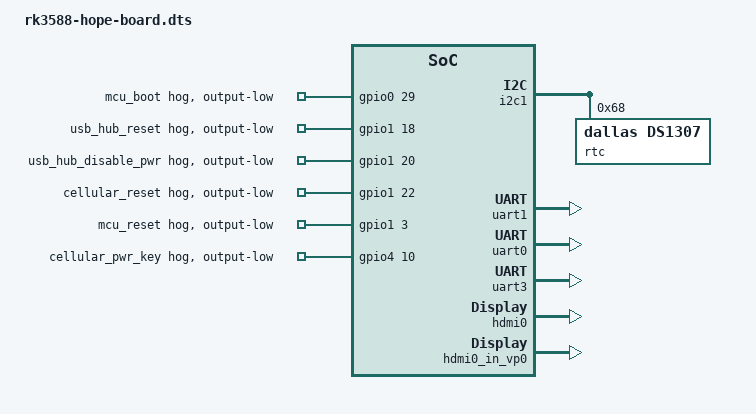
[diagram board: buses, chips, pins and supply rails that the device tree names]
/dts-v1/;
/plugin/;

/ {
    fragment@0 {
        target = <&gpio0>;
        __overlay__ {
            mcu_boot: mcu_boot {
                gpio-hog;

                // GPIO0_D5
                gpios = <29 0>;
                output-low;
                line-name = "mcu_boot";
            };
        };
    };

    fragment@1 {
        target = <&gpio1>;
        __overlay__ {
            usb_hub_reset: usb_hub_reset {
                gpio-hog;

                // GPIO1_C2
                gpios = <18 0>;
                output-low;
                line-name = "usb_hub_reset";
            };

            usb_hub_disable_pwr: usb_hub_disable_pwr {
                gpio-hog;

                // GPIO1_C4
                gpios = <20 0>;
                output-low;
                line-name = "usb_hub_disable_pwr";
            };

            cellular_reset: cellular_reset {
                gpio-hog;

                // GPIO1_C6
                gpios = <22 0>;
                output-low;
                line-name = "cellular_reset";
            };

            mcu_reset: mcu_reset {
                gpio-hog;

                // GPIO1_A3
                gpios = <3 0>;
                output-low;
                line-name = "mcu_reset";
            };
        };
    };

    fragment@2 {
        target = <&gpio4>;
        __overlay__ {
            cellular_pwr_key: cellular_pwr_key {
                gpio-hog;

                // GPIO4_B2
                gpios = <10 0>;
                output-low;
                line-name = "cellular_pwr_key";
            };
        };
    };

    // Main I2C bus for HOPE-X base board
    fragment@3 {
		target = <&i2c1>;

		__overlay__ {
			status = "okay";
			pinctrl-names = "default";
			pinctrl-0 = <&i2c1m4_xfer>;
		};
	};

    // DB9 RS-232 main communication UART
    fragment@4 {
		target = <&uart1>;

		__overlay__ {
			status = "okay";
			pinctrl-0 = <&uart1m1_xfer>;
		};
	};

    // DB9 RS-232 AUX communication UART
    fragment@5 {
		target = <&uart0>;

		__overlay__ {
			status = "okay";
			pinctrl-0 = <&uart0m2_xfer>;
		};
	};

    // RS-485 UART
    fragment@6 {
		target = <&uart3>;

		__overlay__ {
			status = "okay";
			pinctrl-0 = <&uart3m0_xfer>;
		};
	};

    // Enable DS1307 RTC driver on I2C1
    fragment@7 {
        target = <&i2c1>;
        __overlay__ {
            status = "okay";

            rtc@68 {
                compatible = "dallas,ds1307";
                reg = <0x68>;
                status = "okay";
            };
        };
    };

    fragment@8 {
        target-path = "/hdmi0";
        __overlay__ {
            status = "okay";
            force-hpd;  // Add this line to force Hot Plug Detect
            
            display-timings {
                native-mode = <&timing0>;

                timing0: timing0 {
                    clock-frequency = <148500000>;  // Pixel clock frequency in Hz
                    hactive = <1920>;               // Horizontal active pixels
                    vactive = <1080>;               // Vertical active pixels
                    hfront-porch = <88>;            // Horizontal front porch
                    hback-porch = <148>;            // Horizontal back porch
                    hsync-len = <44>;               // Horizontal sync length
                    vfront-porch = <4>;             // Vertical front porch
                    vback-porch = <36>;             // Vertical back porch
                    vsync-len = <5>;                // Vertical sync length
                };
            };
        };
    };

    fragment@9 {
        target-path = "/hdmi0_in_vp0";
        __overlay__ {
            status = "okay";
        };
    };

    fragment@10 {
        target-path = "/hdmi0_sound";
        __overlay__ {
            status = "okay";
        };
    };

    fragment@11 {
        target-path = "/hdptxphy_hdmi0";
        __overlay__ {
            status = "okay";
        };
    };

    fragment@12 {
        target-path = "/route_hdmi0";
        __overlay__ {
            status = "okay";
        };
    };
};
